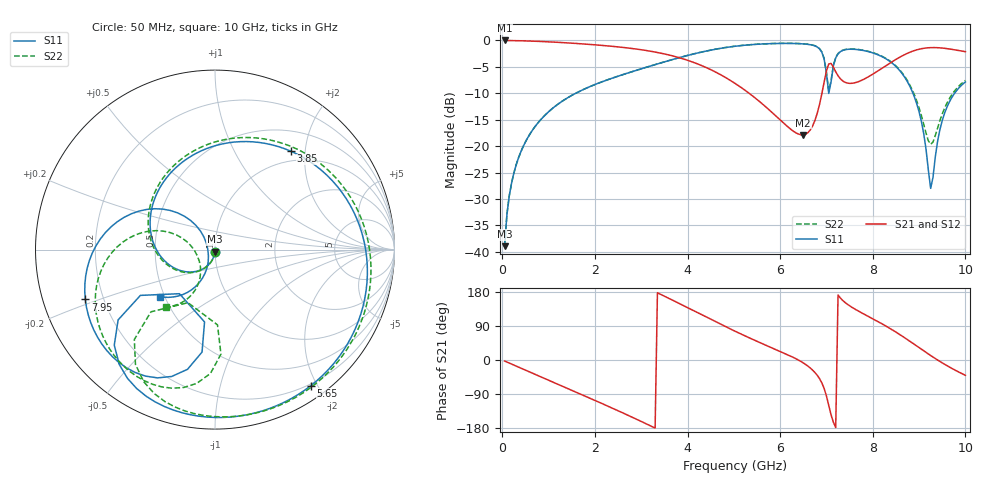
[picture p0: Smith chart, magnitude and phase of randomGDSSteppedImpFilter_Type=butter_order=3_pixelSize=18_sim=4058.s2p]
! freq	dB(S11)	phase(S11)	dB(S12)	phase(S12)
!  dB(S21)	phase(S21)	dB(S22)	phase(S22)
!S-par simulation data
#  GHz  S  DB  R 50
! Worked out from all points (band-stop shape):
!   200 points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, 50 MHz to 10 GHz, reference 50 ohm
!   highest |S21| = -0.01 dB at 50 MHz (marker M1); lowest = -17.9 dB at 6.5 GHz (marker M2)
!   |S21| within 3 dB of the highest: start of sweep to 3.714 GHz; 8.617 GHz to end of sweep
!   lowest |S11| = -38.9 dB at 50 MHz (marker M3), VSWR 1.02, Z = 49.9 - j1.13 ohm
!   |S11| at or under -10 dB: start of sweep to 1.584 GHz; 7.049728 GHz to 7.050463 GHz (735.5 kHz wide, 0.0104 % of centre); 8.868 GHz to 9.767 GHz (899.5 MHz wide, 9.65 % of centre)
!   |S22| runs from -38.9 to -0.5 dB; largest |S21 - S12| = 0
!   S11 on the Smith chart (normalised r, x): 50 MHz: 1.00, -0.02; 3.85 GHz: 0.82, +1.73; 5.65 GHz: 0.18, -1.92; 7.95 GHz: 0.13, -0.18; 10 GHz: 0.47, -0.29
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0.05  -38.91 -92.4  -0.01 -2.7  -0.01 -2.7  -38.91 -92.3
0.2  -26.98 -101.1  -0.03 -10.8  -0.03 -10.8  -26.98 -100.7
0.5  -19.19 -117.7  -0.09 -26.8  -0.09 -26.8  -19.19 -116.9
1.75  -9.28 174.3  -0.66 -93.2  -0.66 -93.2  -9.28 177.6
2.65  -6.33 124.1  -1.37 -142.2  -1.37 -142.2  -6.33 129.5
3.4  -4.31 79.9  -2.37 174.5  -2.37 174.5  -4.31 87.1
3.85  -3.19 52.3  -3.34 147.3  -3.34 147.3  -3.19 60.3
4.5  -1.84 12.0  -5.52 107.4  -5.52 107.4  -1.83 20.9
5.05  -1.08 -21.1  -8.26 74.6  -8.26 74.6  -1.07 -11.6
5.65  -0.66 -54.8  -12.26 41.2  -12.26 41.2  -0.64 -45.0
6.5  -0.66 -101.5  -17.86 -7.7  -17.86 -7.7  -0.63 -90.8
6.7  -0.89 -115.2  -16.19 -26.6  -16.19 -26.6  -0.86 -104.1
6.95  -3.52 -144.0  -7.88 -75.1  -7.88 -75.1  -3.44 -131.9
7.05  -10.02 -128.9  -4.44 -120.3  -4.44 -120.3  -9.58 -116.9
7.15  -4.80 -97.2  -5.06 -164.3  -5.06 -164.3  -4.68 -86.7
7.3  -2.12 -114.1  -7.25 163.7  -7.25 163.7  -2.07 -102.8
7.95  -2.22 -159.0  -6.65 112.0  -6.65 112.0  -2.17 -145.3
8.35  -3.85 174.8  -4.41 84.8  -4.41 84.8  -3.77 -169.2
8.95  -11.99 132.5  -1.78 36.9  -1.78 36.9  -11.45 159.2
9.25  -27.97 -179.7  -1.36 11.8  -1.36 11.8  -19.65 -159.2
9.55  -13.78 -115.5  -1.49 -11.3  -1.49 -11.3  -12.83 -115.9
10  -7.85 -139.7  -2.13 -40.5  -2.13 -40.5  -7.56 -130.2
